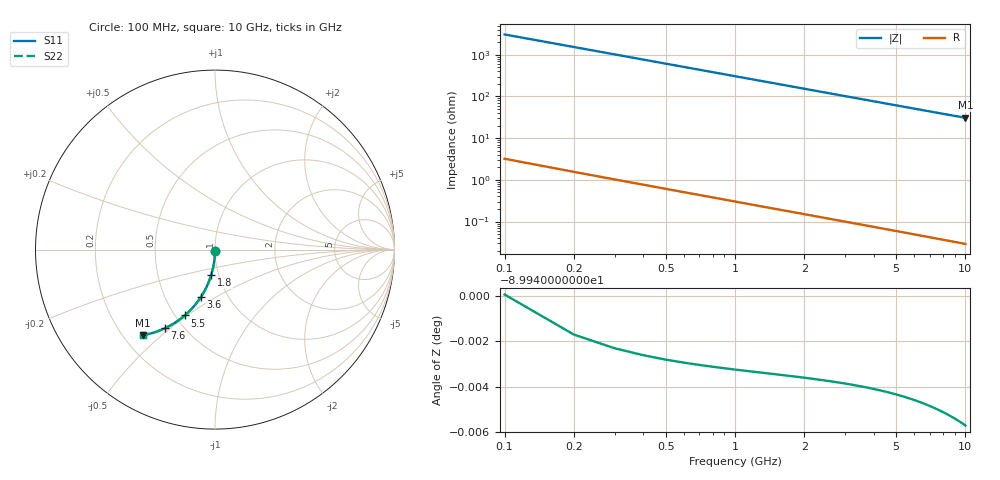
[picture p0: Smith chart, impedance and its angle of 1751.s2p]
# Hz S RI R 50.00
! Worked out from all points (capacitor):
!   100 points, 100 MHz to 10 GHz, reference 50 ohm
!   read as one part in shunt: C = 520 fF near 100 MHz
!   lowest |Z| = 30.8 ohm at 10 GHz (marker M1)
!   S11 on the Smith chart (normalised r, x): 100 MHz: 1.00, -0.02; 1.8 GHz: 0.92, -0.27; 3.6 GHz: 0.75, -0.43; 5.5 GHz: 0.56, -0.49; 7.6 GHz: 0.40, -0.48; 10 GHz: 0.28, -0.43
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1e8  -2.13e-05 -0.00804  0.9999 -0.0083  0.9999 -0.0083  -2.13e-05 -0.00804
2e8  -0.000229 -0.0161  0.9997 -0.0166  0.9997 -0.0166  -0.000229 -0.0161
3e8  -0.000571 -0.0241  0.9993 -0.0249  0.9993 -0.0249  -0.000571 -0.0241
4e8  -0.00105 -0.0321  0.9988 -0.0332  0.9988 -0.0332  -0.00105 -0.0321
5e8  -0.00165 -0.0401  0.9982 -0.0414  0.9982 -0.0414  -0.00165 -0.0401
6e8  -0.00239 -0.0481  0.9975 -0.0497  0.9975 -0.0497  -0.00239 -0.0481
8e8  -0.00426 -0.0641  0.9956 -0.0661  0.9956 -0.0661  -0.00426 -0.0641
1.1e9  -0.00805 -0.0877  0.9918 -0.0906  0.9918 -0.0906  -0.00805 -0.0877
1.4e9  -0.013 -0.1111  0.9869 -0.1147  0.9869 -0.1147  -0.013 -0.1111
1.8e9  -0.0213 -0.1417  0.9786 -0.1463  0.9786 -0.1463  -0.0213 -0.1417
2.1e9  -0.0287 -0.164  0.9711 -0.1694  0.9711 -0.1694  -0.0287 -0.164
2.5e9  -0.0402 -0.1929  0.9596 -0.1994  0.9596 -0.1994  -0.0402 -0.1929
2.9e9  -0.0534 -0.2207  0.9465 -0.2282  0.9465 -0.2282  -0.0534 -0.2207
3.4e9  -0.0719 -0.2536  0.9279 -0.2624  0.9279 -0.2624  -0.0719 -0.2536
3.6e9  -0.08 -0.2662  0.9199 -0.2755  0.9199 -0.2755  -0.08 -0.2662
4.3e9  -0.1103 -0.3073  0.8895 -0.3185  0.8895 -0.3185  -0.1103 -0.3073
5.1e9  -0.1486 -0.3486  0.8512 -0.3619  0.8512 -0.3619  -0.1486 -0.3486
5.5e9  -0.1688 -0.367  0.831 -0.3813  0.831 -0.3813  -0.1688 -0.367
6.7e9  -0.2317 -0.4127  0.768 -0.4303  0.768 -0.4303  -0.2317 -0.4127
7.6e9  -0.2798 -0.4385  0.7199 -0.4584  0.7199 -0.4584  -0.2798 -0.4385
8.4e9  -0.322 -0.4558  0.6776 -0.4779  0.6776 -0.4779  -0.322 -0.4558
1e10  -0.4028 -0.4768  0.5967 -0.5032  0.5967 -0.5032  -0.4028 -0.4768
